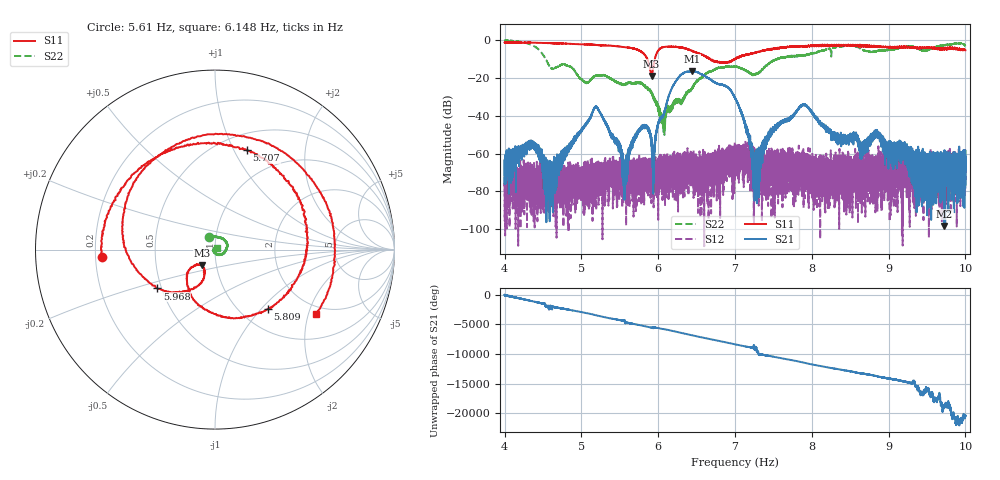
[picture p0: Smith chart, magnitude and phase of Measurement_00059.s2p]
!Created with skrf (http://scikit-rf.org).
# Hz S RI R 50.0
!freq ReS11 ImS11 ReS21 ImS21 ReS12 ImS12 ReS22 ImS22
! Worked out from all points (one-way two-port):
!   14001 points, 4 Hz to 10 Hz, reference 50 ohm
!   highest |S21| = -16.40 dB at 6.441 Hz (marker M1); lowest = -98.4 dB at 9.724 Hz (marker M2)
!   lowest |S11| = -18.9 dB at 5.914 Hz (marker M3), VSWR 1.26, Z = 42.7 - j7.57 ohm
!   |S11| at or under -10 dB: 5.858 Hz to 5.956 Hz (97.9 mHz wide, 1.66 % of centre); 6.676793 Hz to 6.677961 Hz (1.167 mHz wide, 0.0175 % of centre); 6.678 Hz to 6.995 Hz (317.1 mHz wide, 4.64 % of centre) (the widest 3 of 7)
!   |S22| runs from -50.2 to -0.2 dB; largest |S21 - S12| = 0.15
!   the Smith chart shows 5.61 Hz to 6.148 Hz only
!   S11 on the Smith chart (normalised r, x): 5.61 Hz: 0.23, -0.03; 5.707 Hz: 0.67, +1.12; 5.809 Hz: 1.32, -1.09; 5.968 Hz: 0.47, -0.24; 6.148 Hz: 1.72, -2.24
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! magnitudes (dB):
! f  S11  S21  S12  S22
! 4 Hz  -1.2  -64.5  -68.1  -0.2
! 4.355 Hz  -1.4  -55.5  -73.6  -2.6
! 4.596 Hz  -1.6  -69.3  -74.3  -14.3
! 5 Hz  -2.2  -48.0  -74.8  -20.7
! 5.199 Hz  -2.6  -35.2  -76.3  -18.8
! 5.56 Hz  -3.7  -68.4  -68.7  -23.4
! 5.61 Hz  -4.0  -61.0  -69.8  -22.5
! 5.707 Hz  -4.7  -50.7  -65.5  -22.8
! 5.809 Hz  -7.1  -45.9  -69.2  -23.6
! 5.914 Hz  -18.9  -53.8  -68.3  -27.7
! 5.968 Hz  -8.2  -52.8  -73.9  -32.9
! 6 Hz  -5.5  -44.0  -95.0  -35.0
! 6.063 Hz  -3.8  -39.8  -67.9  -41.6
! 6.148 Hz  -3.5  -28.3  -65.9  -36.6
! 6.441 Hz  -5.6  -16.4  -69.1  -25.8
! 7 Hz  -9.9  -30.5  -58.3  -14.2
! 7.279 Hz  -6.5  -71.8  -59.4  -17.9
! 7.52 Hz  -4.7  -44.8  -64.8  -10.5
! 8 Hz  -3.2  -38.0  -66.1  -6.9
! 9 Hz  -3.8  -59.7  -76.8  -5.0
! 9.724 Hz  -4.7  -98.4  -73.2  -2.7
! 10 Hz  -5.4  -78.0  -69.2  -3.1
